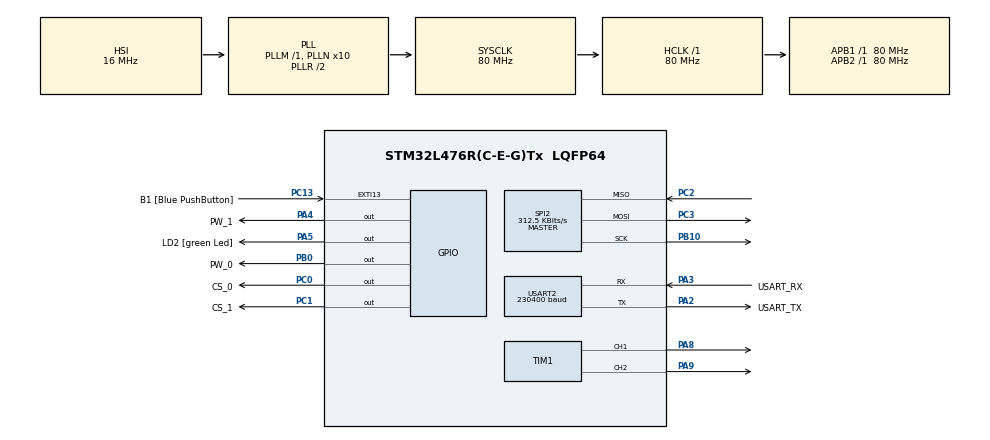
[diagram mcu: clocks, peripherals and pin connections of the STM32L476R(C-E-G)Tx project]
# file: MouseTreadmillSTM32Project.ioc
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Dma.Request0=USART2_TX
Dma.USART2_TX.0.Direction=DMA_MEMORY_TO_PERIPH
Dma.USART2_TX.0.Instance=DMA1_Channel7
Dma.USART2_TX.0.MemDataAlignment=DMA_MDATAALIGN_BYTE
Dma.USART2_TX.0.MemInc=DMA_MINC_ENABLE
Dma.USART2_TX.0.Mode=DMA_NORMAL
Dma.USART2_TX.0.PeriphDataAlignment=DMA_PDATAALIGN_BYTE
Dma.USART2_TX.0.PeriphInc=DMA_PINC_DISABLE
Dma.USART2_TX.0.Priority=DMA_PRIORITY_LOW
Mcu.Family=STM32L4
Mcu.Name=STM32L476R(C-E-G)Tx
Mcu.Package=LQFP64
Mcu.UserConstants=DT_HEART,200;PRESCALER_HEART,1000;CLOCK_FREQ,80000000;COUNTER_PERIOD_HEART,((CLOCK_FREQ/(PRESCALER_HEART))*0.001*DT_HEART);PRESCALER_PWM,1000;COUNTER_PERIOD_PWM,255;PULSE_PWM,10
NVIC.DMA1_Channel7_IRQn=true\:0\:0\:false\:false\:true\:false\:true
NVIC.PriorityGroup=NVIC_PRIORITYGROUP_4
NVIC.TIM7_IRQn=true\:0\:0\:false\:false\:true\:true\:true
NVIC.USART2_IRQn=true\:0\:0\:false\:false\:true\:true\:true
PA13\ (JTMS-SWDIO).GPIO_Label=TMS
PA13\ (JTMS-SWDIO).Mode=Serial_Wire
PA13\ (JTMS-SWDIO).Signal=SYS_JTMS-SWDIO
PA14\ (JTCK-SWCLK).GPIO_Label=TCK
PA14\ (JTCK-SWCLK).Mode=Serial_Wire
PA14\ (JTCK-SWCLK).Signal=SYS_JTCK-SWCLK
PA2.GPIO_Label=USART_TX
PA2.GPIO_Mode=GPIO_MODE_AF_PP
PA2.GPIO_PuPd=GPIO_NOPULL
PA2.GPIO_Speed=GPIO_SPEED_FREQ_VERY_HIGH
PA2.Mode=Asynchronous
PA2.Signal=USART2_TX
PA3.GPIO_Label=USART_RX
PA3.GPIO_Mode=GPIO_MODE_AF_PP
PA3.GPIO_PuPd=GPIO_NOPULL
PA3.GPIO_Speed=GPIO_SPEED_FREQ_VERY_HIGH
PA3.Mode=Asynchronous
PA3.Signal=USART2_RX
PA4.GPIO_Label=PW_1
PA4.Signal=GPIO_Output
PA5.GPIO_Label=LD2 [green Led]
PA5.GPIO_ModeDefaultOutputPP=GPIO_MODE_OUTPUT_PP
PA5.GPIO_PuPd=GPIO_NOPULL
PA5.GPIO_Speed=GPIO_SPEED_FREQ_LOW
PA5.Signal=GPIO_Output
PA8.Signal=S_TIM1_CH1
PA9.Signal=S_TIM1_CH2
PB0.GPIO_Label=PW_0
PB0.Signal=GPIO_Output
PB10.Mode=Full_Duplex_Master
PB10.Signal=SPI2_SCK
PB3\ (JTDO-TRACESWO).GPIO_Label=SWO
PB3\ (JTDO-TRACESWO).Signal=SYS_JTDO-SWO
PC0.GPIO_Label=CS_0
PC0.Signal=GPIO_Output
PC1.GPIO_Label=CS_1
PC1.Signal=GPIO_Output
PC13.GPIO_Label=B1 [Blue PushButton]
PC13.GPIO_ModeDefaultEXTI=GPIO_MODE_IT_FALLING
PC13.GPIO_PuPd=GPIO_NOPULL
PC13.Signal=GPXTI13
PC14-OSC32_IN\ (PC14).Mode=LSE-External-Oscillator
PC14-OSC32_IN\ (PC14).Signal=RCC_OSC32_IN
PC15-OSC32_OUT\ (PC15).Mode=LSE-External-Oscillator
PC15-OSC32_OUT\ (PC15).Signal=RCC_OSC32_OUT
PC2.Mode=Full_Duplex_Master
PC2.Signal=SPI2_MISO
PC3.Mode=Full_Duplex_Master
PC3.Signal=SPI2_MOSI
PH0-OSC_IN\ (PH0).Signal=RCC_OSC_IN
PH1-OSC_OUT\ (PH1).Signal=RCC_OSC_OUT
ProjectManager.HeapSize=0x200
ProjectManager.StackSize=0x400
ProjectManager.TargetToolchain=STM32CubeIDE
RCC.ADCFreq_Value=64000000
RCC.AHBFreq_Value=80000000
RCC.APB1Freq_Value=80000000
RCC.APB1TimFreq_Value=80000000
RCC.APB2Freq_Value=80000000
RCC.APB2TimFreq_Value=80000000
RCC.CortexFreq_Value=80000000
RCC.HCLKFreq_Value=80000000
RCC.HSE_VALUE=8000000
RCC.HSI_VALUE=16000000
RCC.MSI_VALUE=4000000
RCC.PLLN=10
RCC.PLLSourceVirtual=RCC_PLLSOURCE_HSI
RCC.PREFETCH_ENABLE=1
RCC.SYSCLKFreq_VALUE=80000000
RCC.SYSCLKSource=RCC_SYSCLKSOURCE_PLLCLK
RCC.USBFreq_Value=64000000
RCC.VCOOutputFreq_Value=160000000
SH.S_TIM1_CH1.0=TIM1_CH1,PWM Generation1 CH1
SH.S_TIM1_CH2.0=TIM1_CH2,PWM Generation2 CH2
SPI2.BaudRatePrescaler=SPI_BAUDRATEPRESCALER_256
SPI2.CLKPhase=SPI_PHASE_2EDGE
SPI2.CLKPolarity=SPI_POLARITY_HIGH
SPI2.CalculateBaudRate=312.5 KBits/s
SPI2.DataSize=SPI_DATASIZE_8BIT
SPI2.Direction=SPI_DIRECTION_2LINES
SPI2.Mode=SPI_MODE_MASTER
SPI2.VirtualType=VM_MASTER
TIM1.Channel-PWM\ Generation1\ CH1=TIM_CHANNEL_1
TIM1.Channel-PWM\ Generation2\ CH2=TIM_CHANNEL_2
TIM1.ClockDivision=TIM_CLOCKDIVISION_DIV1
TIM1.Period=COUNTER_PERIOD_PWM
TIM1.Prescaler=PRESCALER_PWM
TIM1.Pulse-PWM\ Generation1\ CH1=PULSE_PWM
TIM1.Pulse-PWM\ Generation2\ CH2=PULSE_PWM
TIM7.Period=COUNTER_PERIOD_HEART
TIM7.Prescaler=PRESCALER_HEART
USART2.BaudRate=230400
USART2.DMADisableonRxErrorParam=ADVFEATURE_DMA_ENABLEONRXERROR
USART2.OneBitSampling=UART_ONE_BIT_SAMPLE_DISABLE
USART2.OverSampling=UART_OVERSAMPLING_16
USART2.OverrunDisableParam=ADVFEATURE_OVERRUN_ENABLE
USART2.VirtualMode-Asynchronous=VM_ASYNC
VP_TIM1_VS_ClockSourceINT.Mode=Internal
VP_TIM7_VS_ClockSourceINT.Mode=Enable_Timer
board=NUCLEO-L476RG

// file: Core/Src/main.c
/* USER CODE BEGIN Header */
/**
  ******************************************************************************
  * @file           : main.c
  * @brief          : Main program body
  ******************************************************************************
  * @attention
  *
  * <h2><center>&copy; Copyright (c) 2019 STMicroelectronics.
  * All rights reserved.</center></h2>
  *
  * This software component is licensed by ST under BSD 3-Clause license,
  * the "License"; You may not use this file except in compliance with the
  * License. You may obtain a copy of the License at:
  *                        opensource.org/licenses/BSD-3-Clause
  *
  ******************************************************************************
  */
/* USER CODE END Header */

#include "main.h"

/* USER CODE BEGIN PD */
/*!
\def TIMEOUT
\brief Constant used as timeout in ms.
\deprecated Using DMA makes the transfer free from the processor, thus the
TIMEOUT never appens.
*/
#define TIMEOUT 2
/* USER CODE END PD */

SPI_HandleTypeDef hspi2;

TIM_HandleTypeDef htim1;
TIM_HandleTypeDef htim7;

UART_HandleTypeDef huart2;
DMA_HandleTypeDef hdma_usart2_tx;

/* USER CODE BEGIN PV */
/*!
\var inByte
\brief Buffer for one byte.

This is the buffer used to copy data form UART. When one byte is available it is stored in
inByte and then parsed using the mavlink_parse_char function. Everytime one
byte arrives the inByte variable is overwritten.
*/
static uint8_t inByte = 0;
/* USER CODE END PV */

void SystemClock_Config(void);
static void MX_GPIO_Init(void);
static void MX_USART2_UART_Init(void);
static void MX_TIM7_Init(void);
static void MX_TIM1_Init(void);
static void MX_DMA_Init(void);
static void MX_SPI2_Init(void);
/* USER CODE BEGIN PFP */
void main_wait_160us(void){
	int i = 0;
	i = 0;
	while(i<900){
		HAL_GPIO_TogglePin(GPIOA, GPIO_PIN_5);
		i++;
	}
}
void main_wait_20us(void){
	int i = 0;
	i = 0;
	while(i<185){
		HAL_GPIO_TogglePin(GPIOA, GPIO_PIN_5);
		i++;
	}
}
/*!
\fn main_wait_1us(void)
\brief Function for waiting approximately one microsecond
*/
void main_wait_1us(void){
	int i = 0;
	i = 0;
	while(i<25){
		HAL_GPIO_TogglePin(GPIOA, GPIO_PIN_5);
		i++;
	}
}
int main_get_huart_tx_state(void){
	return (HAL_DMA_GetState(&hdma_usart2_tx));
}
void main_transmit_buffer(uint8_t *outBuffer, uint16_t msg_size){
	HAL_UART_Transmit_DMA(&huart2, outBuffer,msg_size);
}
void main_stop_motors(void)
{
	HAL_TIM_PWM_Stop(&htim1, TIM_CHANNEL_1);
	HAL_TIM_PWM_Stop(&htim1, TIM_CHANNEL_2);
}
void main_set_motors_speed(mavlink_motor_setpoint_t motor )
{

	htim1.Instance->CCR1 = motor.motor_x;
	htim1.Instance->CCR2 = motor.motor_y;

	if (motor.motor_x == 0)
		HAL_TIM_PWM_Stop(&htim1, TIM_CHANNEL_1);
	else
		HAL_TIM_PWM_Start(&htim1, TIM_CHANNEL_1);

	if (motor.motor_y == 0)
		HAL_TIM_PWM_Stop(&htim1, TIM_CHANNEL_2);
	else
		HAL_TIM_PWM_Start(&htim1, TIM_CHANNEL_2);

}
uint8_t main_read_sensor (const sensor_t sensor, uint8_t adress ){
	uint8_t value = 0;
	uint8_t adress_read = adress & 0x7F;

	HAL_GPIO_WritePin(sensor.cs_port, sensor.cs_pin, GPIO_PIN_RESET);
	HAL_SPI_Transmit(&hspi2, &adress_read, 1, 100);
	main_wait_160us();
	HAL_SPI_Receive(&hspi2, &value, 1, 100);
	main_wait_1us();
	HAL_GPIO_WritePin(sensor.cs_port, sensor.cs_pin, GPIO_PIN_SET);
	main_wait_20us();
	return (value);
}

void main_write_sensor (const sensor_t sensor, uint8_t adress, uint8_t data){
	uint8_t value = data;
	uint8_t adress_write = adress | 0x80;
	uint8_t pack[2];
	pack[0] = adress_write;
	pack[1] = value;

	HAL_GPIO_WritePin(sensor.cs_port, sensor.cs_pin, GPIO_PIN_RESET);
	HAL_SPI_Transmit(&hspi2, pack, 2, 10);
	main_wait_20us();
	HAL_GPIO_WritePin(sensor.cs_port, sensor.cs_pin, GPIO_PIN_SET);
	main_wait_160us();
	main_wait_20us();
}
void main_write_sensor_burst(uint8_t data){
	HAL_SPI_Transmit(&hspi2, &data, 1, 10);
	main_wait_20us();
}
void main_read_sensor_motion_burst(uint8_t *data ){
	HAL_SPI_Receive(&hspi2,data,12,100);
	main_wait_1us();
}
void main_transmit_spi(uint8_t data){
	uint8_t data_out = data;
	HAL_SPI_Transmit(&hspi2, &data_out, 1, 10);
}
/* USER CODE END PFP */

/* USER CODE BEGIN 0 */
/*!
\fn TM7_IRQHandler(void)
\brief Handle for IRQ of Timer 7

Timer 7 is used to generate a periodic interrupt to send status messages.
Those messages give information about the status of the system and are sent periodically.
The messages giving more important information such as the speed of the ball are sent
as fast as possible, which means faster than the status messages.
*/
void TM7_IRQHandler(void){
	HAL_TIM_IRQHandler(&htim7);
}

/*!
\fn HAL_UART_RxCpltCallback(UART_HandleTypeDef *huart)
\param huart pointer on huart structure (as defined in the HAL library)
\brief Function called everytime a new byte is available from UART communication

This function is used to receive data from UART communication. Everytime one byte is
received by the STM32 it is copied in the \ref inByte and then passed to the mavlink_parse_char
function. Once enough byte are taken and one message is received the function
\ref mouseDriver_readMsg is called and a subsiquent action is taken.
*/
void HAL_UART_RxCpltCallback(UART_HandleTypeDef *huart){
	HAL_NVIC_DisableIRQ(USART2_IRQn);
	mavlink_message_t inmsg;
	mavlink_status_t msgStatus;
	if (huart->Instance == USART2){
		/* Receive one byte in interrupt mode */
		HAL_UART_Receive_IT(&huart2, &inByte, 1);
		if(mavlink_parse_char(0, inByte, &inmsg, &msgStatus)){

			mouseDriver_readMsg(inmsg);
		}
	}
	HAL_NVIC_EnableIRQ(USART2_IRQn);
}

/*!
\fn HAL_TIM_PeriodElapsedCallback(TIM_HandleTypeDef *htim)
\param htim pointer on timer structure (as defined in the HAL library)
\brief Function called everytime a certain time is enlapsed

This function is used to send periodically some status information to the PC.
*/
void HAL_TIM_PeriodElapsedCallback(TIM_HandleTypeDef *htim){
    if (htim->Instance==TIM7){
    	mouseDriver_send_status_msg();
    }
}
/* USER CODE END 0 */

int main(void)
{

  /* MCU Configuration--------------------------------------------------------*/

  /* Reset of all peripherals, Initializes the Flash interface and the Systick. */
  HAL_Init();

  /* Configure the system clock */
  SystemClock_Config();

  /* Initialize all configured peripherals */
  MX_GPIO_Init();
  MX_USART2_UART_Init();
  MX_TIM7_Init();
  MX_TIM1_Init();
  MX_DMA_Init();
  MX_SPI2_Init();
  /* USER CODE BEGIN 2 */
  HAL_InitTick(0);
  HAL_NVIC_SetPriority(USART2_IRQn,1,0);
  HAL_NVIC_EnableIRQ(USART2_IRQn);
  HAL_NVIC_SetPriority(TIM7_IRQn,2,0);
  HAL_NVIC_EnableIRQ(TIM7_IRQn);
  HAL_GPIO_WritePin(GPIOC, CS_0_Pin|CS_1_Pin, GPIO_PIN_SET);

  HAL_UART_Receive_IT(&huart2, &inByte, 1);
  HAL_TIM_Base_Start_IT(&htim7);
  HAL_GPIO_WritePin(GPIOC, GPIO_PIN_0, GPIO_PIN_SET);

  mouseDriver_init();

  /* USER CODE END 2 */

  /* Infinite loop */
  /* USER CODE BEGIN WHILE */

  while (1)
  {
	 mouseDriver_idle();
    /* USER CODE END WHILE */

  }
}

void SystemClock_Config(void)
{
  RCC_OscInitTypeDef RCC_OscInitStruct = {0};
  RCC_ClkInitTypeDef RCC_ClkInitStruct = {0};
  RCC_PeriphCLKInitTypeDef PeriphClkInit = {0};

  /** Initializes the CPU, AHB and APB busses clocks
  */
  RCC_OscInitStruct.OscillatorType = RCC_OSCILLATORTYPE_HSI;
  RCC_OscInitStruct.HSIState = RCC_HSI_ON;
  RCC_OscInitStruct.HSICalibrationValue = RCC_HSICALIBRATION_DEFAULT;
  RCC_OscInitStruct.PLL.PLLState = RCC_PLL_ON;
  RCC_OscInitStruct.PLL.PLLSource = RCC_PLLSOURCE_HSI;
  RCC_OscInitStruct.PLL.PLLM = 1;
  RCC_OscInitStruct.PLL.PLLN = 10;
  RCC_OscInitStruct.PLL.PLLP = RCC_PLLP_DIV7;
  RCC_OscInitStruct.PLL.PLLQ = RCC_PLLQ_DIV2;
  RCC_OscInitStruct.PLL.PLLR = RCC_PLLR_DIV2;
  if (HAL_RCC_OscConfig(&RCC_OscInitStruct) != HAL_OK)
  {
    Error_Handler();
  }
  /** Initializes the CPU, AHB and APB busses clocks
  */
  RCC_ClkInitStruct.ClockType = RCC_CLOCKTYPE_HCLK|RCC_CLOCKTYPE_SYSCLK
                              |RCC_CLOCKTYPE_PCLK1|RCC_CLOCKTYPE_PCLK2;
  RCC_ClkInitStruct.SYSCLKSource = RCC_SYSCLKSOURCE_PLLCLK;
  RCC_ClkInitStruct.AHBCLKDivider = RCC_SYSCLK_DIV1;
  RCC_ClkInitStruct.APB1CLKDivider = RCC_HCLK_DIV1;
  RCC_ClkInitStruct.APB2CLKDivider = RCC_HCLK_DIV1;

  if (HAL_RCC_ClockConfig(&RCC_ClkInitStruct, FLASH_LATENCY_4) != HAL_OK)
  {
    Error_Handler();
  }
  PeriphClkInit.PeriphClockSelection = RCC_PERIPHCLK_USART2;
  PeriphClkInit.Usart2ClockSelection = RCC_USART2CLKSOURCE_PCLK1;
  if (HAL_RCCEx_PeriphCLKConfig(&PeriphClkInit) != HAL_OK)
  {
    Error_Handler();
  }
  /** Configure the main internal regulator output voltage
  */
  if (HAL_PWREx_ControlVoltageScaling(PWR_REGULATOR_VOLTAGE_SCALE1) != HAL_OK)
  {
    Error_Handler();
  }
}

static void MX_SPI2_Init(void)
{

  /* USER CODE BEGIN SPI2_Init 0 */
  HAL_GPIO_DeInit(GPIOC, GPIO_PIN_3);

  /*GPIO_InitTypeDef pin;
  pin.Pin = GPIO_PIN_3;
  pin.Mode = GPIO_MODE_OUTPUT_PP;
  pin.Pull = GPIO_PULLDOWN;
  pin.Speed = GPIO_SPEED_MEDIUM;
  HAL_GPIO_Init(GPIOC, &pin);
  HAL_GPIO_WritePin(GPIOC,GPIO_PIN_3, GPIO_PIN_RESET);*/

  __HAL_RCC_SPI2_CLK_ENABLE();
  __SPI2_CLK_ENABLE();
  /* USER CODE END SPI2_Init 0 */

  /* SPI2 parameter configuration*/
  hspi2.Instance = SPI2;
  hspi2.Init.Mode = SPI_MODE_MASTER;
  hspi2.Init.Direction = SPI_DIRECTION_2LINES;
  hspi2.Init.DataSize = SPI_DATASIZE_8BIT;
  hspi2.Init.CLKPolarity = SPI_POLARITY_HIGH;
  hspi2.Init.CLKPhase = SPI_PHASE_2EDGE;
  hspi2.Init.NSS = SPI_NSS_SOFT;
  hspi2.Init.BaudRatePrescaler = SPI_BAUDRATEPRESCALER_256;
  hspi2.Init.FirstBit = SPI_FIRSTBIT_MSB;
  hspi2.Init.TIMode = SPI_TIMODE_DISABLE;
  hspi2.Init.CRCCalculation = SPI_CRCCALCULATION_DISABLE;
  hspi2.Init.CRCPolynomial = 7;
  hspi2.Init.CRCLength = SPI_CRC_LENGTH_DATASIZE;
  hspi2.Init.NSSPMode = SPI_NSS_PULSE_DISABLE;
  if (HAL_SPI_Init(&hspi2) != HAL_OK)
  {
    Error_Handler();
  }

}

static void MX_TIM1_Init(void)
{

  TIM_ClockConfigTypeDef sClockSourceConfig = {0};
  TIM_MasterConfigTypeDef sMasterConfig = {0};
  TIM_OC_InitTypeDef sConfigOC = {0};
  TIM_BreakDeadTimeConfigTypeDef sBreakDeadTimeConfig = {0};

  htim1.Instance = TIM1;
  htim1.Init.Prescaler = PRESCALER_PWM;
  htim1.Init.CounterMode = TIM_COUNTERMODE_UP;
  htim1.Init.Period = COUNTER_PERIOD_PWM;
  htim1.Init.ClockDivision = TIM_CLOCKDIVISION_DIV1;
  htim1.Init.RepetitionCounter = 0;
  htim1.Init.AutoReloadPreload = TIM_AUTORELOAD_PRELOAD_DISABLE;
  if (HAL_TIM_Base_Init(&htim1) != HAL_OK)
  {
    Error_Handler();
  }
  sClockSourceConfig.ClockSource = TIM_CLOCKSOURCE_INTERNAL;
  if (HAL_TIM_ConfigClockSource(&htim1, &sClockSourceConfig) != HAL_OK)
  {
    Error_Handler();
  }
  if (HAL_TIM_PWM_Init(&htim1) != HAL_OK)
  {
    Error_Handler();
  }
  sMasterConfig.MasterOutputTrigger = TIM_TRGO_RESET;
  sMasterConfig.MasterOutputTrigger2 = TIM_TRGO2_RESET;
  sMasterConfig.MasterSlaveMode = TIM_MASTERSLAVEMODE_DISABLE;
  if (HAL_TIMEx_MasterConfigSynchronization(&htim1, &sMasterConfig) != HAL_OK)
  {
    Error_Handler();
  }
  sConfigOC.OCMode = TIM_OCMODE_PWM1;
  sConfigOC.Pulse = PULSE_PWM;
  sConfigOC.OCPolarity = TIM_OCPOLARITY_HIGH;
  sConfigOC.OCNPolarity = TIM_OCNPOLARITY_HIGH;
  sConfigOC.OCFastMode = TIM_OCFAST_DISABLE;
  sConfigOC.OCIdleState = TIM_OCIDLESTATE_RESET;
  sConfigOC.OCNIdleState = TIM_OCNIDLESTATE_RESET;
  if (HAL_TIM_PWM_ConfigChannel(&htim1, &sConfigOC, TIM_CHANNEL_1) != HAL_OK)
  {
    Error_Handler();
  }
  if (HAL_TIM_PWM_ConfigChannel(&htim1, &sConfigOC, TIM_CHANNEL_2) != HAL_OK)
  {
    Error_Handler();
  }
  sBreakDeadTimeConfig.OffStateRunMode = TIM_OSSR_DISABLE;
  sBreakDeadTimeConfig.OffStateIDLEMode = TIM_OSSI_DISABLE;
  sBreakDeadTimeConfig.LockLevel = TIM_LOCKLEVEL_OFF;
  sBreakDeadTimeConfig.DeadTime = 0;
  sBreakDeadTimeConfig.BreakState = TIM_BREAK_DISABLE;
  sBreakDeadTimeConfig.BreakPolarity = TIM_BREAKPOLARITY_HIGH;
  sBreakDeadTimeConfig.BreakFilter = 0;
  sBreakDeadTimeConfig.Break2State = TIM_BREAK2_DISABLE;
  sBreakDeadTimeConfig.Break2Polarity = TIM_BREAK2POLARITY_HIGH;
  sBreakDeadTimeConfig.Break2Filter = 0;
  sBreakDeadTimeConfig.AutomaticOutput = TIM_AUTOMATICOUTPUT_DISABLE;
  if (HAL_TIMEx_ConfigBreakDeadTime(&htim1, &sBreakDeadTimeConfig) != HAL_OK)
  {
    Error_Handler();
  }
  HAL_TIM_MspPostInit(&htim1);

}

static void MX_TIM7_Init(void)
{

  TIM_MasterConfigTypeDef sMasterConfig = {0};

  htim7.Instance = TIM7;
  htim7.Init.Prescaler = PRESCALER_HEART;
  htim7.Init.CounterMode = TIM_COUNTERMODE_UP;
  htim7.Init.Period = COUNTER_PERIOD_HEART;
  htim7.Init.AutoReloadPreload = TIM_AUTORELOAD_PRELOAD_DISABLE;
  if (HAL_TIM_Base_Init(&htim7) != HAL_OK)
  {
    Error_Handler();
  }
  sMasterConfig.MasterOutputTrigger = TIM_TRGO_RESET;
  sMasterConfig.MasterSlaveMode = TIM_MASTERSLAVEMODE_DISABLE;
  if (HAL_TIMEx_MasterConfigSynchronization(&htim7, &sMasterConfig) != HAL_OK)
  {
    Error_Handler();
  }

}

static void MX_USART2_UART_Init(void)
{

  /* USER CODE BEGIN USART2_Init 0 */
  /* DMA controller clock enable */
  __DMA1_CLK_ENABLE();

  /* Peripheral DMA init*/
  hdma_usart2_tx.Init.Direction = DMA_MEMORY_TO_PERIPH;
  hdma_usart2_tx.Init.PeriphInc = DMA_PINC_DISABLE;
  hdma_usart2_tx.Init.MemInc = DMA_MINC_ENABLE;
  hdma_usart2_tx.Init.PeriphDataAlignment = DMA_MDATAALIGN_BYTE;
  hdma_usart2_tx.Init.MemDataAlignment = DMA_MDATAALIGN_BYTE;
  hdma_usart2_tx.Init.Mode = DMA_NORMAL;
  hdma_usart2_tx.Init.Priority = DMA_PRIORITY_LOW;
  HAL_DMA_Init(&hdma_usart2_tx);

  __HAL_LINKDMA(&huart2,hdmatx,hdma_usart2_tx);
  /* USER CODE END USART2_Init 0 */

  huart2.Instance = USART2;
  huart2.Init.BaudRate = 230400;
  huart2.Init.WordLength = UART_WORDLENGTH_8B;
  huart2.Init.StopBits = UART_STOPBITS_1;
  huart2.Init.Parity = UART_PARITY_NONE;
  huart2.Init.Mode = UART_MODE_TX_RX;
  huart2.Init.HwFlowCtl = UART_HWCONTROL_NONE;
  huart2.Init.OverSampling = UART_OVERSAMPLING_16;
  huart2.Init.OneBitSampling = UART_ONE_BIT_SAMPLE_DISABLE;
  huart2.AdvancedInit.AdvFeatureInit = UART_ADVFEATURE_NO_INIT;
  if (HAL_UART_Init(&huart2) != HAL_OK)
  {
    Error_Handler();
  }

}

static void MX_DMA_Init(void)
{

  /* DMA controller clock enable */
  __HAL_RCC_DMA1_CLK_ENABLE();

  /* DMA interrupt init */
  /* DMA1_Channel7_IRQn interrupt configuration */
  HAL_NVIC_SetPriority(DMA1_Channel7_IRQn, 0, 0);
  HAL_NVIC_EnableIRQ(DMA1_Channel7_IRQn);

}

static void MX_GPIO_Init(void)
{
  GPIO_InitTypeDef GPIO_InitStruct = {0};

  /* GPIO Ports Clock Enable */
  __HAL_RCC_GPIOC_CLK_ENABLE();
  __HAL_RCC_GPIOH_CLK_ENABLE();
  __HAL_RCC_GPIOA_CLK_ENABLE();
  __HAL_RCC_GPIOB_CLK_ENABLE();

  /*Configure GPIO pin Output Level */
  HAL_GPIO_WritePin(GPIOC, CS_0_Pin|CS_1_Pin, GPIO_PIN_RESET);

  /*Configure GPIO pin Output Level */
  HAL_GPIO_WritePin(GPIOA, PW_1_Pin|LD2_Pin, GPIO_PIN_RESET);

  /*Configure GPIO pin Output Level */
  HAL_GPIO_WritePin(PW_0_GPIO_Port, PW_0_Pin, GPIO_PIN_RESET);

  /*Configure GPIO pin : B1_Pin */
  GPIO_InitStruct.Pin = B1_Pin;
  GPIO_InitStruct.Mode = GPIO_MODE_IT_FALLING;
  GPIO_InitStruct.Pull = GPIO_NOPULL;
  HAL_GPIO_Init(B1_GPIO_Port, &GPIO_InitStruct);

  /*Configure GPIO pins : CS_0_Pin CS_1_Pin */
  GPIO_InitStruct.Pin = CS_0_Pin|CS_1_Pin;
  GPIO_InitStruct.Mode = GPIO_MODE_OUTPUT_PP;
  GPIO_InitStruct.Pull = GPIO_NOPULL;
  GPIO_InitStruct.Speed = GPIO_SPEED_FREQ_LOW;
  HAL_GPIO_Init(GPIOC, &GPIO_InitStruct);

  /*Configure GPIO pins : PW_1_Pin LD2_Pin */
  GPIO_InitStruct.Pin = PW_1_Pin|LD2_Pin;
  GPIO_InitStruct.Mode = GPIO_MODE_OUTPUT_PP;
  GPIO_InitStruct.Pull = GPIO_NOPULL;
  GPIO_InitStruct.Speed = GPIO_SPEED_FREQ_LOW;
  HAL_GPIO_Init(GPIOA, &GPIO_InitStruct);

  /*Configure GPIO pin : PW_0_Pin */
  GPIO_InitStruct.Pin = PW_0_Pin;
  GPIO_InitStruct.Mode = GPIO_MODE_OUTPUT_PP;
  GPIO_InitStruct.Pull = GPIO_NOPULL;
  GPIO_InitStruct.Speed = GPIO_SPEED_FREQ_LOW;
  HAL_GPIO_Init(PW_0_GPIO_Port, &GPIO_InitStruct);

}

void Error_Handler(void)
{
}

/************************ (C) COPYRIGHT STMicroelectronics *****END OF FILE****/
